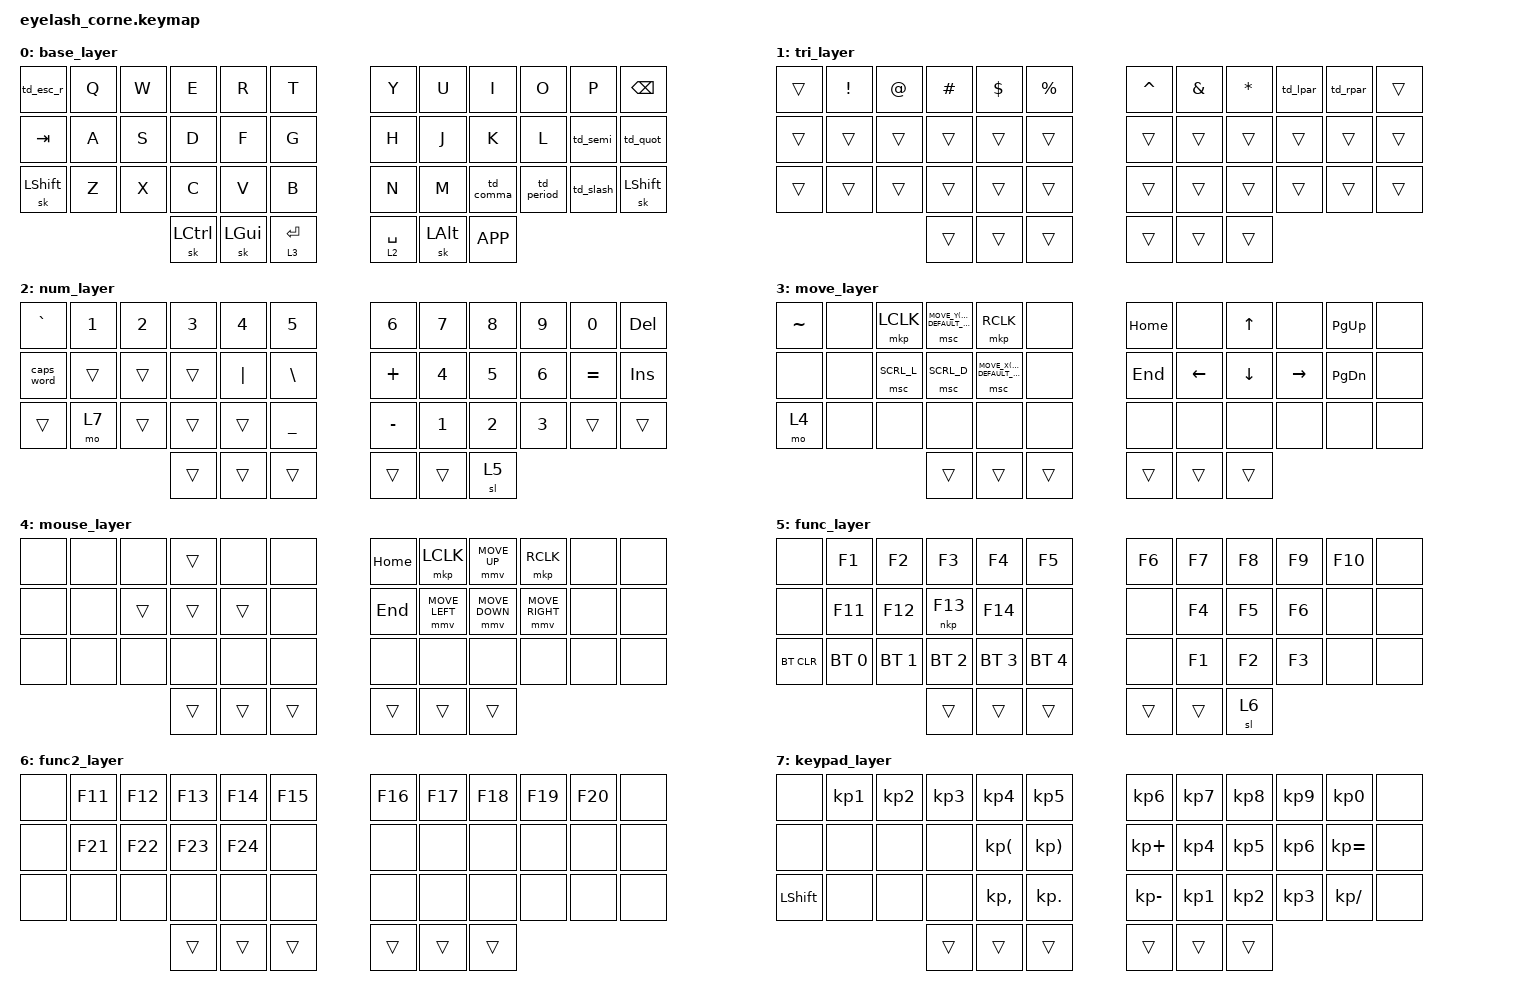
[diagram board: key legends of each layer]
#define ZMK_POINTING_DEFAULT_MOVE_VAL 1200  // 600
#define ZMK_POINTING_DEFAULT_SCRL_VAL 25   // 10
#include <dt-bindings/zmk/pointing.h>

#include <input/processors.dtsi>
#include <zephyr/dt-bindings/input/input-event-codes.h>
#include <behaviors.dtsi>
#include <dt-bindings/zmk/bt.h>
#include <dt-bindings/zmk/keys.h>
#include <dt-bindings/zmk/outputs.h>
#include <dt-bindings/zmk/rgb.h>


#define SCRL_U MOVE_Y(ZMK_POINTING_DEFAULT_SCRL_VAL)
#define SCRL_D MOVE_Y(-ZMK_POINTING_DEFAULT_SCRL_VAL)
#define SCRL_L MOVE_X(-ZMK_POINTING_DEFAULT_SCRL_VAL)
#define SCRL_R MOVE_X(ZMK_POINTING_DEFAULT_SCRL_VAL)

#define MOUSE_U MOVE_UP 
#define MOUSE_D MOVE_DOWN
#define MOUSE_L MOVE_LEFT
#define MOUSE_R MOVE_RIGHT

&mmv_input_listener { input-processors = <&zip_xy_scaler 2 1>; };

&msc_input_listener { input-processors = <&zip_scroll_scaler 2 1>; };

&msc {
    acceleration-exponent = <1>;      // 0
    time-to-max-speed-ms = <100>;     // 300
    delay-ms = <0>;                   // 0
    // x-input-code = <INPUT_REL_HWHEEL>;
    // y-input-code = <INPUT_REL_WHEEL>;
};
&mmv {
    time-to-max-speed-ms = <500>;
    acceleration-exponent = <1>;
    trigger-period-ms = <16>;
    // x-input-code = <INPUT_REL_X>;
    // y-input-code = <INPUT_REL_Y>;
    // time-to-max-speed-ms = <300>;
    // acceleration-exponent = <1>;
};

&soft_off { hold-time-ms = <2000>; };

/ {
    behaviors {
        td0: td0 {
            compatible = "zmk,behavior-tap-dance";
            display-name = "Shift/Caps Lock Tap Dance";
            #binding-cells = <0>;
            bindings = <&kp LEFT_SHIFT>, <&kp CAPS>;
        };

        td_slash: td_slash {
            compatible = "zmk,behavior-tap-dance";
            label = "TD_SLASH";
            #binding-cells = <0>;
            bindings = <&kp FSLH>, <&kp LS(FSLH)>;
        };

        td_period: td_period {
            compatible = "zmk,behavior-tap-dance";
            label = "TD_PERIOD";
            #binding-cells = <0>;
            bindings = <&kp PERIOD>, <&kp LS(PERIOD)>;
        };

        td_comma: td_comma {
            compatible = "zmk,behavior-tap-dance";
            label = "TD_COMMA";
            #binding-cells = <0>;
            bindings = <&kp COMMA>, <&kp LS(COMMA)>;
        };

        td_semi: td_semi {
            compatible = "zmk,behavior-tap-dance";
            label = "TD_SEMI";
            #binding-cells = <0>;
            bindings = <&kp SEMI>, <&kp LS(SEMI)>;
        };

        td_quot: td_quot {
            compatible = "zmk,behavior-tap-dance";
            label = "TD_QUOT";
            #binding-cells = <0>;
            bindings = <&kp SINGLE_QUOTE>, <&kp LS(SINGLE_QUOTE)>;
        };

        td_lpar: td_lpar {
            compatible = "zmk,behavior-tap-dance";
            label = "TD_LPAR";
            #binding-cells = <0>;
            bindings =
                <&kp LEFT_PARENTHESIS>,
                <&kp LEFT_BRACKET>,
                <&kp LEFT_BRACE>;
        };

        td_rpar: td_rpar {
            compatible = "zmk,behavior-tap-dance";
            label = "TD_RPAR";
            #binding-cells = <0>;
            bindings =
                <&kp RIGHT_PARENTHESIS>,
                <&kp RIGHT_BRACKET>,
                <&kp RIGHT_BRACE>;
        };

        td_tab_capsword: td_tab_capsword {
            compatible = "zmk,behavior-tap-dance";
            label = "TD_TAB_CAPSWORD";
            #binding-cells = <0>;
            bindings = <&kp TAB>, <&caps_word>;
        };

        td_esc_r: td_esc_r {
            compatible = "zmk,behavior-tap-dance";
            label = "TD_ESC_R";
            #binding-cells = <0>;
            bindings = <&kp ESC>, <&sys_reset>;
        };        
    };

    rgb_encoder: rgb_encoder {
        compatible = "zmk,behavior-sensor-rotate";
        #sensor-binding-cells = <0>;
        bindings = <&rgb_ug RGB_BRI>, <&rgb_ug RGB_BRD>;
    };

    scroll_encoder: scroll_encoder {
        compatible = "zmk,behavior-sensor-rotate";
        #sensor-binding-cells = <0>;
        bindings = <&msc SCRL_DOWN>, <&msc SCRL_UP>;

        tap-ms = <100>;
    };

    combos {
        compatible = "zmk,combos";

        softoff {
            bindings = <&soft_off>;
            key-positions = <1 15 29>;
        };
    };

    conditional_layers {
        compatible = "zmk,conditional-layers";

        tri_layer {
            if-layers = <4 2>;
            then-layer = <1>;
        };
    };

    keymap {
        compatible = "zmk,keymap";

        base_layer { // 0
            // |  `   |  1  |  2  |  3  |  4  |  5  |   |  6  |  7  |  8  |  9  |  0  | DEL  |  // 2 RAISE
            // |      |  !  |  @  |  #  |  $  |  %  |   |  ^  |  &  |  *  |  (  |  )  |      |  // 1 TRI
            // --------------------------------------   ---------------------------------------
            // | ESC  |  Q  |  W  |  E  |  R  |  T  |   |  Y  |  U  |  I  |  O  |  P  | BSPC |  // 0 BASE
            // | TAB  |  A  |  S  |  D  |  F  |  G  |   |  H  |  J  |  K  |  L  |  ;  |  '   |
            // | SHFT |  Z  |  X  |  C  |  V  |  B  |   |  N  |  M  |  ,  |  .  |  /  | ESC  |
            //                    | GUI | LWR | SPC |   | ENT | RSE | ALT |

           bindings = <
&td_esc_r  &kp Q        &kp W        &kp E        &kp R        &kp T        &kp Y        &kp U        &kp I        &kp O        &kp P        &kp BSPC
&kp TAB    &kp A        &kp S        &kp D        &kp F        &kp G        &kp H        &kp J        &kp K        &kp L        &td_semi     &td_quot
&sk LSHFT  &kp Z        &kp X        &kp C        &kp V        &kp B        &kp N        &kp M        &td_comma    &td_period   &td_slash    &sk LSHFT
                                     &sk LCTRL    &sk LGUI     &lt 3 ENTER  &lt 2 SPACE  &sk LALT     &kp K_APP
           >;
        };

        tri_layer { // 1
           bindings = <
//         |            |            |            |            |            |            |            |            |            |            |
&trans     &kp EXCL     &kp AT       &kp HASH     &kp DLLR     &kp PRCNT    &kp CARET    &kp AMPS     &kp STAR     &td_lpar     &td_rpar     &trans
&trans     &trans       &trans       &trans       &trans       &trans       &trans       &trans       &trans       &trans       &trans       &trans
&trans     &trans       &trans       &trans       &trans       &trans       &trans       &trans       &trans       &trans       &trans       &trans
                                     &trans       &trans       &trans       &trans       &trans       &trans
           >;
        };

        num_layer { // 2 (RAISE)
            // --------------------------------------   --------------------------------------
            // |  `   |  1  |  2  |  3  |  4  |  5  |   |  6  |  7  |  8  |  9  |  0  | DEL  |
            // | CapW |     |     |     |  |  |  \  |   |  +  |  4  |  5  |  6  |  =  | INC  |
            // | (KP) |     |     |     |     |  _  |   |  -  |  1  |  2  |  3  |     |      |
            //                    |     |     |     |   |     |     | F#  |

           bindings = <
//         |            |            |            |            |            |            |            |            |            |            |
&kp GRAVE  &kp N1       &kp N2       &kp N3       &kp N4       &kp N5       &kp N6       &kp N7       &kp N8       &kp N9       &kp N0       &kp DEL
&caps_word &trans       &trans       &trans       &kp PIPE     &kp BSLH     &kp PLUS     &kp N4       &kp N5       &kp N6       &kp EQUAL    &kp INS
&trans     &mo 7        &trans       &trans       &trans       &kp UNDER    &kp MINUS    &kp N1       &kp N2       &kp N3       &trans       &trans
                                     &trans       &trans       &trans       &trans       &trans       &sl 5
           >;
        };
        move_layer { // 3 (LOWER)
           bindings = <
//         |            |            |            |            |            |            |            |            |            |            |
&kp TILDE  &none        &mkp LCLK    &msc SCRL_U  &mkp RCLK    &none        &kp HOME     &none        &kp UP       &none        &kp PG_UP    &none 
&none      &none        &msc SCRL_L  &msc SCRL_D  &msc SCRL_R  &none        &kp END      &kp LEFT     &kp DOWN     &kp RIGHT    &kp PG_DN    &none 
&mo 4      &none        &none        &none        &none        &none        &none        &none        &none        &none        &none        &none 
                                     &trans       &trans       &trans       &trans       &trans       &trans
           >; 
        };

        mouse_layer { // 4 (MOUSE)
           bindings = <
//         |            |            |            |            |            |            |            |            |            |            |
&none      &none        &none        &trans       &none        &none        &kp HOME     &mkp LCLK    &mmv MOUSE_U &mkp RCLK    &none        &none 
&none      &none        &trans       &trans       &trans       &none        &kp END      &mmv MOUSE_L &mmv MOUSE_D &mmv MOUSE_R &none        &none 
&none      &none        &none        &none        &none        &none        &none        &none        &none        &none        &none        &none 
                                     &trans       &trans       &trans       &trans       &trans       &trans
           >;
        };
        func_layer { // 5 (F1-14)
           bindings = <
//         |            |            |            |            |            |            |            |            |            |            |
&none      &kp F1       &kp F2       &kp F3       &kp F4       &kp F5       &kp F6       &kp F7       &kp F8       &kp F9       &kp F10      &none
&none      &kp F11      &kp F12      &nkp F13     &kp F14      &none        &none        &kp F4       &kp F5       &kp F6       &none        &none
&bt BT_CLR &bt BT_SEL 0 &bt BT_SEL 1 &bt BT_SEL 2 &bt BT_SEL 3 &bt BT_SEL 4 &none        &kp F1       &kp F2       &kp F3       &none        &none
                                     &trans       &trans       &trans       &trans       &trans       &sl 6
           >;
        }; // BT_SEL_CMD = BT_SEL = 3 ...                                                                                                     

        func2_layer { // 6 (F11-24)
           bindings = <
//         |            |            |            |            |            |            |            |            |            |            |
&none      &kp F11      &kp F12      &kp F13      &kp F14      &kp F15      &kp F16      &kp F17      &kp F18      &kp F19      &kp F20      &none
&none      &kp F21      &kp F22      &kp F23      &kp F24      &none        &none        &none        &none        &none        &none        &none
&none      &none        &none        &none        &none        &none        &none        &none        &none        &none        &none        &none
                                     &trans       &trans       &trans       &trans       &trans       &trans
           >;
        };

        keypad_layer { // 7
           bindings = <
//         |            |            |            |            |            |            |            |            |            |            |
&none      &kp KP_N1    &kp KP_N2    &kp KP_N3    &kp KP_N4    &kp KP_N5    &kp KP_N6    &kp KP_N7    &kp KP_N8    &kp KP_N9    &kp KP_N0    &none
&none      &none        &none        &none        &kp KP_LPAR  &kp KP_RPAR  &kp KP_PLUS  &kp KP_N4    &kp KP_N5    &kp KP_N6    &kp KP_EQUAL &none
&kp LSHFT  &none        &none        &none        &kp KP_COMMA &kp KP_DOT   &kp KP_MINUS &kp KP_N1    &kp KP_N2    &kp KP_N3    &kp KP_SLASH &none
                                     &trans       &trans       &trans       &trans       &trans       &trans 
           >;
        };
    };
};
